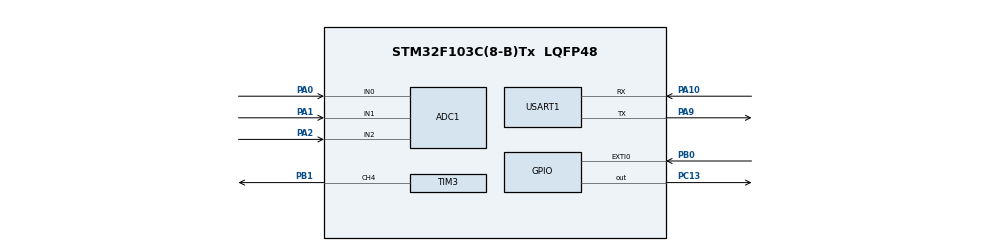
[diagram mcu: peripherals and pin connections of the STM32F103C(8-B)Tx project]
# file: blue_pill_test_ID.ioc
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ADC1.Channel-0\#ChannelRegularConversion=ADC_CHANNEL_0
ADC1.NbrOfConversionFlag=1
ADC1.Rank-0\#ChannelRegularConversion=1
ADC1.SamplingTime-0\#ChannelRegularConversion=ADC_SAMPLETIME_1CYCLE_5
ADC1.master=1
Mcu.Family=STM32F1
Mcu.Name=STM32F103C(8-B)Tx
Mcu.Package=LQFP48
NVIC.ADC1_2_IRQn=true\:0\:0\:false\:false\:true\:true\:true
NVIC.EXTI0_IRQn=true\:0\:0\:false\:false\:true\:true\:true
NVIC.PriorityGroup=NVIC_PRIORITYGROUP_4
NVIC.TIM3_IRQn=true\:0\:0\:false\:false\:true\:true\:true
NVIC.USART1_IRQn=true\:0\:0\:false\:false\:true\:true\:true
PA0-WKUP.Signal=ADCx_IN0
PA1.Signal=ADCx_IN1
PA10.Mode=Asynchronous
PA10.Signal=USART1_RX
PA13.Mode=Serial_Wire
PA13.Signal=SYS_JTMS-SWDIO
PA14.Mode=Serial_Wire
PA14.Signal=SYS_JTCK-SWCLK
PA2.Signal=ADCx_IN2
PA9.Mode=Asynchronous
PA9.Signal=USART1_TX
PB0.Signal=GPXTI0
PB1.Signal=S_TIM3_CH4
PC13-TAMPER-RTC.Signal=GPIO_Output
ProjectManager.HeapSize=0x200
ProjectManager.StackSize=0x400
ProjectManager.TargetToolchain=STM32CubeIDE
RCC.APB1Freq_Value=8000000
RCC.APB2Freq_Value=8000000
SH.ADCx_IN0.0=ADC1_IN0,IN0
SH.ADCx_IN1.0=ADC1_IN1,IN1
SH.ADCx_IN2.0=ADC1_IN2,IN2
SH.S_TIM3_CH4.0=TIM3_CH4,PWM Generation4 CH4
TIM3.Channel-PWM\ Generation4\ CH4=TIM_CHANNEL_4
TIM3.OCFastMode_PWM-PWM\ Generation4\ CH4=TIM_OCFAST_ENABLE
TIM3.Period=100
TIM3.Prescaler=8
TIM3.Pulse-PWM\ Generation4\ CH4=50
USART1.VirtualMode=VM_ASYNC
VP_TIM3_VS_ClockSourceINT.Mode=Internal
board=custom

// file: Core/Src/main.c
/* USER CODE BEGIN Header */
/**
  ******************************************************************************
  * @file           : main.c
  * @brief          : Main program body
  ******************************************************************************
  * @attention
  *
  * <h2><center>&copy; Copyright (c) 2020 STMicroelectronics.
  * All rights reserved.</center></h2>
  *
  * This software component is licensed by ST under BSD 3-Clause license,
  * the "License"; You may not use this file except in compliance with the
  * License. You may obtain a copy of the License at:
  *                        opensource.org/licenses/BSD-3-Clause
  *
  ******************************************************************************
  */
/* USER CODE END Header */

#include "main.h"

/* USER CODE BEGIN Includes */
#include <stdio.h>

/* USER CODE END Includes */

ADC_HandleTypeDef hadc1;

TIM_HandleTypeDef htim3;

UART_HandleTypeDef huart1;

/* USER CODE BEGIN PV */
#define BLINK_TIMER 100
#define PWD_PERIOD  10
#define TIMER_PERIOD 20000
#define MAX_PWM           1500

uint32_t counter = BLINK_TIMER;
uint16_t pwm = 0;
volatile uint8_t  rx_temp[1] = {0};
volatile uint8_t  rx_flag = 0;
volatile uint8_t  recieved_cmd = 0;

#define CMD_READ_ADC      'A'
#define CMD_ECHO          'E'
#define CMD_PWM_PLUS      '+'
#define CMD_PWM_MINUS     '-'

void sample_chanel(void);

void cmd_parse_command(void)
{
	if (!rx_flag)  return;

	rx_flag = 0;

	switch(recieved_cmd){
	case CMD_READ_ADC :
				sample_chanel();
				break;
	case CMD_ECHO :
				printf("echo \r\n");
				break;
	case CMD_PWM_PLUS :

				if ((pwm +10) <= MAX_PWM)
					pwm+=10;
				printf("PWM is [%d] \r\n", pwm);
				htim3.Instance->CCR3 = pwm;
				break;
	case CMD_PWM_MINUS :
				if ((pwm - 10) >= 0)
					pwm-=10;
				printf("PWM is [%d] \r\n", pwm);

				htim3.Instance->CCR3 = pwm;
				break;

	default: break;
	}

}

void HAL_UART_RxCpltCallback(UART_HandleTypeDef *huart)
{
	if (huart->Instance  ==  USART1)
	{
		__HAL_UART_CLEAR_OREFLAG(huart);
		if ((rx_temp[0] != '\r'  && rx_temp[0] != '\n')){
			rx_flag = 1;
			recieved_cmd = rx_temp[0];
		}
		HAL_UART_Receive_IT(huart, (uint8_t *)rx_temp, 1);
	}
}

void HAL_TIM_PeriodElapsedCallback(TIM_HandleTypeDef *htim)
{
	if (htim->Instance == TIM3) {
		if (counter)counter--;

		if (counter == 0) {
			counter = BLINK_TIMER;
			 GPIOC->ODR ^= GPIO_PIN_13;
		}
	}
}

void HAL_GPIO_EXTI_Callback(uint16_t GPIO_Pin)
{
	if (GPIO_Pin == GPIO_PIN_12){

	}
}

void sample_chanel(void)
{

	HAL_ADC_Start(&hadc1);
	HAL_ADC_PollForConversion(&hadc1, 200);
	uint32_t adc_value= HAL_ADC_GetValue(&hadc1);
	HAL_ADC_Stop(&hadc1);

	printf("adc value is  [%4lx]\r\n",adc_value);

}
/* USER CODE END PV */

void SystemClock_Config(void);
static void MX_GPIO_Init(void);
static void MX_ADC1_Init(void);
static void MX_TIM3_Init(void);
static void MX_USART1_UART_Init(void);

int main(void)
{
  /* USER CODE BEGIN 1 */
	setvbuf(stdout,0, _IOLBF, 0);

  /* USER CODE END 1 */

  /* MCU Configuration--------------------------------------------------------*/

  /* Reset of all peripherals, Initializes the Flash interface and the Systick. */
  HAL_Init();

  /* Configure the system clock */
  SystemClock_Config();

  /* Initialize all configured peripherals */
  MX_GPIO_Init();
  MX_ADC1_Init();
  MX_TIM3_Init();
  MX_USART1_UART_Init();
  /* USER CODE BEGIN 2 */
	HAL_TIM_Base_Start_IT(&htim3);
	//uint32_t loop_counter = 1000;
	HAL_UART_Receive_IT(&huart1, (uint8_t * )rx_temp, 1);
	HAL_TIM_PWM_Start(&htim3, TIM_CHANNEL_4);

  /* USER CODE END 2 */

  /* Infinite loop */
  while (1)
  {

    /* USER CODE BEGIN 3 */
	cmd_parse_command();
  }
  /* USER CODE END 3 */
}

void SystemClock_Config(void)
{
  RCC_OscInitTypeDef RCC_OscInitStruct = {0};
  RCC_ClkInitTypeDef RCC_ClkInitStruct = {0};
  RCC_PeriphCLKInitTypeDef PeriphClkInit = {0};

  /** Initializes the CPU, AHB and APB busses clocks
  */
  RCC_OscInitStruct.OscillatorType = RCC_OSCILLATORTYPE_HSI;
  RCC_OscInitStruct.HSIState = RCC_HSI_ON;
  RCC_OscInitStruct.HSICalibrationValue = RCC_HSICALIBRATION_DEFAULT;
  RCC_OscInitStruct.PLL.PLLState = RCC_PLL_NONE;
  if (HAL_RCC_OscConfig(&RCC_OscInitStruct) != HAL_OK)
  {
    Error_Handler();
  }
  /** Initializes the CPU, AHB and APB busses clocks
  */
  RCC_ClkInitStruct.ClockType = RCC_CLOCKTYPE_HCLK|RCC_CLOCKTYPE_SYSCLK
                              |RCC_CLOCKTYPE_PCLK1|RCC_CLOCKTYPE_PCLK2;
  RCC_ClkInitStruct.SYSCLKSource = RCC_SYSCLKSOURCE_HSI;
  RCC_ClkInitStruct.AHBCLKDivider = RCC_SYSCLK_DIV1;
  RCC_ClkInitStruct.APB1CLKDivider = RCC_HCLK_DIV1;
  RCC_ClkInitStruct.APB2CLKDivider = RCC_HCLK_DIV1;

  if (HAL_RCC_ClockConfig(&RCC_ClkInitStruct, FLASH_LATENCY_0) != HAL_OK)
  {
    Error_Handler();
  }
  PeriphClkInit.PeriphClockSelection = RCC_PERIPHCLK_ADC;
  PeriphClkInit.AdcClockSelection = RCC_ADCPCLK2_DIV2;
  if (HAL_RCCEx_PeriphCLKConfig(&PeriphClkInit) != HAL_OK)
  {
    Error_Handler();
  }
}

static void MX_ADC1_Init(void)
{

  ADC_ChannelConfTypeDef sConfig = {0};

  /** Common config
  */
  hadc1.Instance = ADC1;
  hadc1.Init.ScanConvMode = ADC_SCAN_DISABLE;
  hadc1.Init.ContinuousConvMode = DISABLE;
  hadc1.Init.DiscontinuousConvMode = DISABLE;
  hadc1.Init.ExternalTrigConv = ADC_SOFTWARE_START;
  hadc1.Init.DataAlign = ADC_DATAALIGN_RIGHT;
  hadc1.Init.NbrOfConversion = 1;
  if (HAL_ADC_Init(&hadc1) != HAL_OK)
  {
    Error_Handler();
  }
  /** Configure Regular Channel
  */
  sConfig.Channel = ADC_CHANNEL_0;
  sConfig.Rank = ADC_REGULAR_RANK_1;
  sConfig.SamplingTime = ADC_SAMPLETIME_1CYCLE_5;
  if (HAL_ADC_ConfigChannel(&hadc1, &sConfig) != HAL_OK)
  {
    Error_Handler();
  }

}

static void MX_TIM3_Init(void)
{

  TIM_ClockConfigTypeDef sClockSourceConfig = {0};
  TIM_MasterConfigTypeDef sMasterConfig = {0};
  TIM_OC_InitTypeDef sConfigOC = {0};

  htim3.Instance = TIM3;
  htim3.Init.Prescaler = 8;
  htim3.Init.CounterMode = TIM_COUNTERMODE_UP;
  htim3.Init.Period = 10000;
  htim3.Init.ClockDivision = TIM_CLOCKDIVISION_DIV1;
  htim3.Init.AutoReloadPreload = TIM_AUTORELOAD_PRELOAD_DISABLE;
  if (HAL_TIM_Base_Init(&htim3) != HAL_OK)
  {
    Error_Handler();
  }
  sClockSourceConfig.ClockSource = TIM_CLOCKSOURCE_INTERNAL;
  if (HAL_TIM_ConfigClockSource(&htim3, &sClockSourceConfig) != HAL_OK)
  {
    Error_Handler();
  }
  if (HAL_TIM_PWM_Init(&htim3) != HAL_OK)
  {
    Error_Handler();
  }
  sMasterConfig.MasterOutputTrigger = TIM_TRGO_RESET;
  sMasterConfig.MasterSlaveMode = TIM_MASTERSLAVEMODE_DISABLE;
  if (HAL_TIMEx_MasterConfigSynchronization(&htim3, &sMasterConfig) != HAL_OK)
  {
    Error_Handler();
  }
  sConfigOC.OCMode = TIM_OCMODE_PWM1;
  sConfigOC.Pulse = PWD_PERIOD;
  sConfigOC.OCPolarity = TIM_OCPOLARITY_HIGH;
  sConfigOC.OCFastMode = TIM_OCFAST_ENABLE;
  if (HAL_TIM_PWM_ConfigChannel(&htim3, &sConfigOC, TIM_CHANNEL_4) != HAL_OK)
  {
    Error_Handler();
  }
  HAL_TIM_MspPostInit(&htim3);

}

static void MX_USART1_UART_Init(void)
{

  huart1.Instance = USART1;
  huart1.Init.BaudRate = 115200;
  huart1.Init.WordLength = UART_WORDLENGTH_8B;
  huart1.Init.StopBits = UART_STOPBITS_1;
  huart1.Init.Parity = UART_PARITY_NONE;
  huart1.Init.Mode = UART_MODE_TX_RX;
  huart1.Init.HwFlowCtl = UART_HWCONTROL_NONE;
  huart1.Init.OverSampling = UART_OVERSAMPLING_16;
  if (HAL_UART_Init(&huart1) != HAL_OK)
  {
    Error_Handler();
  }

}

static void MX_GPIO_Init(void)
{
  GPIO_InitTypeDef GPIO_InitStruct = {0};

  /* GPIO Ports Clock Enable */
  __HAL_RCC_GPIOC_CLK_ENABLE();
  __HAL_RCC_GPIOA_CLK_ENABLE();
  __HAL_RCC_GPIOB_CLK_ENABLE();

  /*Configure GPIO pin Output Level */
  HAL_GPIO_WritePin(GPIOC, GPIO_PIN_13, GPIO_PIN_RESET);

  /*Configure GPIO pin : PC13 */
  GPIO_InitStruct.Pin = GPIO_PIN_13;
  GPIO_InitStruct.Mode = GPIO_MODE_OUTPUT_PP;
  GPIO_InitStruct.Pull = GPIO_NOPULL;
  GPIO_InitStruct.Speed = GPIO_SPEED_FREQ_LOW;
  HAL_GPIO_Init(GPIOC, &GPIO_InitStruct);

  /*Configure GPIO pin : PB0 */
  GPIO_InitStruct.Pin = GPIO_PIN_0;
  GPIO_InitStruct.Mode = GPIO_MODE_IT_RISING;
  GPIO_InitStruct.Pull = GPIO_NOPULL;
  HAL_GPIO_Init(GPIOB, &GPIO_InitStruct);

  /* EXTI interrupt init*/
  HAL_NVIC_SetPriority(EXTI0_IRQn, 0, 0);
  HAL_NVIC_EnableIRQ(EXTI0_IRQn);

}

void Error_Handler(void)
{
}

/************************ (C) COPYRIGHT STMicroelectronics *****END OF FILE****/
